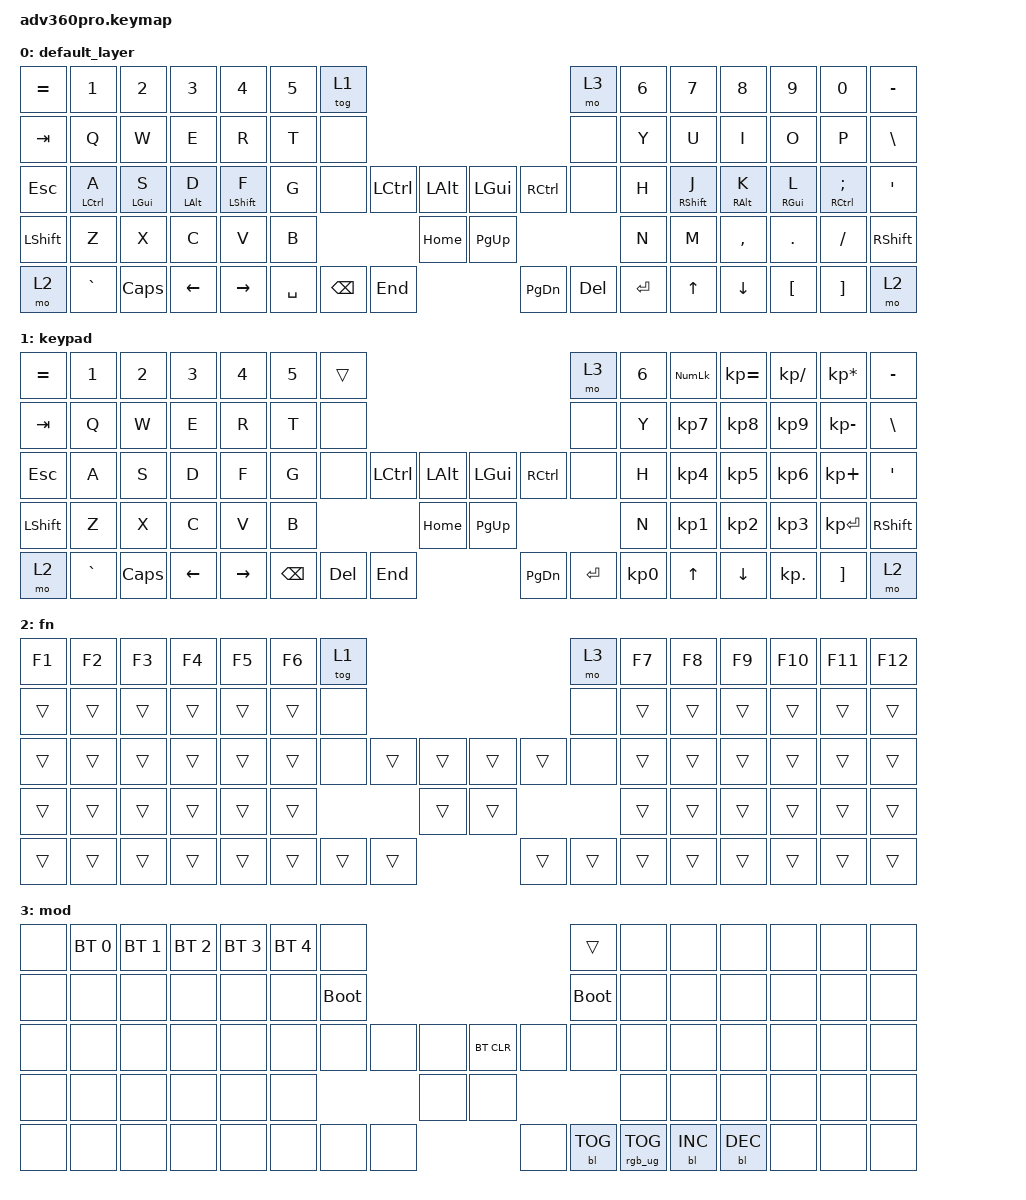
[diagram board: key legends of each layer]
#include <behaviors.dtsi>
#include <dt-bindings/zmk/backlight.h>
#include <dt-bindings/zmk/bt.h>
#include <dt-bindings/zmk/keys.h>
#include <dt-bindings/zmk/rgb.h>

/ {
    behaviors {
        hmr: hmr {
            compatible = "zmk,behavior-hold-tap";
            #binding-cells = <2>;
            flavor = "balanced";
            tapping-term-ms = <250>;
            quick-tap-ms = <175>;
            require-prior-idle-ms = <100>;
            bindings = <&kp>, <&kp>;

            hold-trigger-on-release;
            label = "HMR";
            hold-trigger-key-positions = <7 8 9 10 11 12 13 21 22 23 24 25 26 27 37 38 39 40 41 42 43 44 45 53 54 55 56 57 58 59 68 69 70 71 72 73 74 75 35 36 52 66 67 65>;
        };

        hml: hml {
            compatible = "zmk,behavior-hold-tap";
            #binding-cells = <2>;
            flavor = "balanced";
            tapping-term-ms = <250>;
            quick-tap-ms = <175>;
            require-prior-idle-ms = <100>;
            bindings = <&kp>, <&kp>;

            hold-trigger-on-release;
            label = "HML";
            hold-trigger-key-positions = <0 1 2 3 4 5 6 14 15 16 17 18 19 20 28 29 30 31 32 33 34 35 36 46 47 48 49 50 51 52 60 61 62 63 64 65 66 67 37 38 53 68 69 70>;
        };
    };

    keymap {
        compatible = "zmk,keymap";

        default_layer {
            bindings = <
&kp EQUAL  &kp N1        &kp N2       &kp N3       &kp N4         &kp N5  &tog 1                                                                          &mo 3  &kp N6  &kp N7              &kp N8            &kp N9            &kp N0                        &kp MINUS
&kp TAB    &kp Q         &kp W        &kp E        &kp R          &kp T   &none                                                                           &none  &kp Y   &kp U               &kp I             &kp O             &kp P                         &kp BSLH
&kp ESC    &hml LCTRL A  &hml LGUI S  &hml LALT D  &hml LSHIFT F  &kp G   &none              &kp LCTRL      &kp LALT    &kp LGUI   &kp RCTRL              &none  &kp H   &hmr RIGHT_SHIFT J  &hmr RIGHT_ALT K  &hmr RIGHT_GUI L  &hmr RIGHT_CONTROL SEMICOLON  &kp SQT
&kp LSHFT  &kp Z         &kp X        &kp C        &kp V          &kp B                                     &kp HOME    &kp PG_UP                                &kp N   &kp M               &kp COMMA         &kp DOT           &kp FSLH                      &kp RSHFT
&mo 2      &kp GRAVE     &kp CAPS     &kp LEFT     &kp RIGHT                      &kp SPACE  &kp BACKSPACE  &kp END     &kp PG_DN  &kp DELETE  &kp ENTER                 &kp UP              &kp DOWN          &kp LBKT          &kp RBKT                      &mo 2
            >;
        };

        keypad {
            bindings = <
&kp EQUAL  &kp N1     &kp N2    &kp N3    &kp N4     &kp N5  &trans                                                                    &mo 3  &kp N6  &kp KP_NUM  &kp KP_EQUAL  &kp KP_DIVIDE  &kp KP_MULTIPLY  &kp MINUS
&kp TAB    &kp Q      &kp W     &kp E     &kp R      &kp T   &none                                                                     &none  &kp Y   &kp KP_N7   &kp KP_N8     &kp KP_N9      &kp KP_MINUS     &kp BSLH
&kp ESC    &kp A      &kp S     &kp D     &kp F      &kp G   &none             &kp LCTRL  &kp LALT    &kp LGUI   &kp RCTRL             &none  &kp H   &kp KP_N4   &kp KP_N5     &kp KP_N6      &kp KP_PLUS      &kp SQT
&kp LSHFT  &kp Z      &kp X     &kp C     &kp V      &kp B                                &kp HOME    &kp PG_UP                               &kp N   &kp KP_N1   &kp KP_N2     &kp KP_N3      &kp KP_ENTER     &kp RSHFT
&mo 2      &kp GRAVE  &kp CAPS  &kp LEFT  &kp RIGHT                  &kp BSPC  &kp DEL    &kp END     &kp PG_DN  &kp ENTER  &kp KP_N0                 &kp UP      &kp DOWN      &kp KP_DOT     &kp RBKT         &mo 2
            >;
        };

        fn {
            bindings = <
&kp F1  &kp F2  &kp F3  &kp F4  &kp F5  &kp F6  &tog 1                                                    &mo 3  &kp F7  &kp F8  &kp F9  &kp F10  &kp F11  &kp F12
&trans  &trans  &trans  &trans  &trans  &trans  &none                                                     &none  &trans  &trans  &trans  &trans   &trans   &trans
&trans  &trans  &trans  &trans  &trans  &trans  &none           &trans  &trans    &trans  &trans          &none  &trans  &trans  &trans  &trans   &trans   &trans
&trans  &trans  &trans  &trans  &trans  &trans                          &trans    &trans                         &trans  &trans  &trans  &trans   &trans   &trans
&trans  &trans  &trans  &trans  &trans                  &trans  &trans  &trans    &trans  &trans  &trans                 &trans  &trans  &trans   &trans   &trans
            >;
        };

        mod {
            bindings = <
&none  &bt BT_SEL 0  &bt BT_SEL 1  &bt BT_SEL 2  &bt BT_SEL 3  &bt BT_SEL 4  &none                                                                        &trans       &none  &none       &none       &none  &none  &none
&none  &none         &none         &none         &none         &none         &bootloader                                                                  &bootloader  &none  &none       &none       &none  &none  &none
&none  &none         &none         &none         &none         &none         &none               &none  &none    &bt BT_CLR  &none                        &none        &none  &none       &none       &none  &none  &none
&none  &none         &none         &none         &none         &none                                    &none    &none                                                 &none  &none       &none       &none  &none  &none
&none  &none         &none         &none         &none                                    &none  &none  &none    &none       &bl BL_TOG  &rgb_ug RGB_TOG                      &bl BL_INC  &bl BL_DEC  &none  &none  &none
            >;
        };
    };
};
